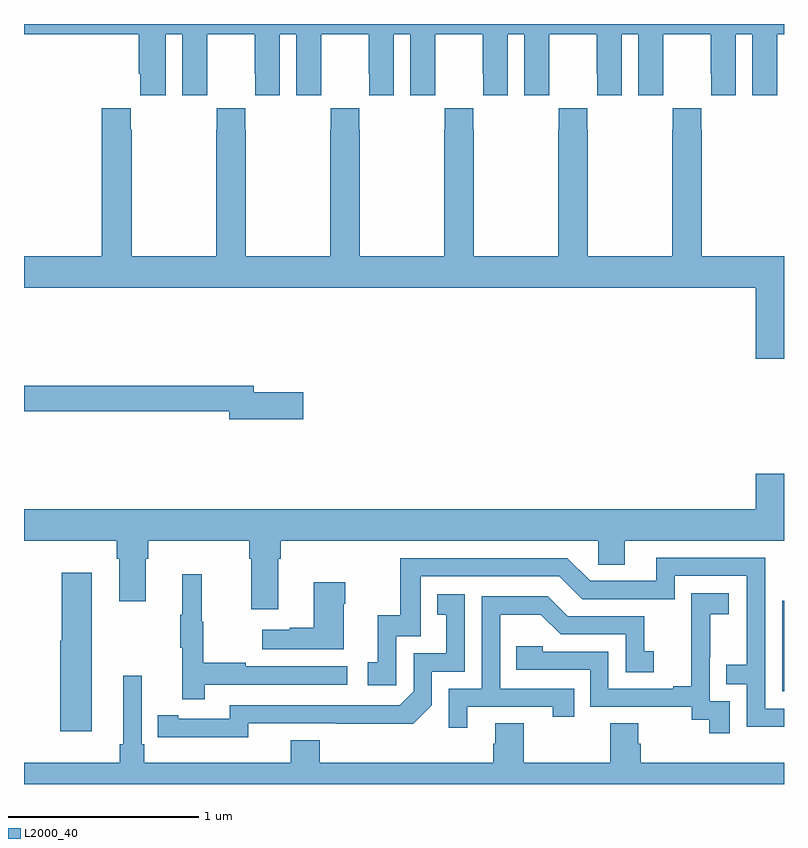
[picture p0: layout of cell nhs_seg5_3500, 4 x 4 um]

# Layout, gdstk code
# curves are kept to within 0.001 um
import gdstk
lib = gdstk.Library(unit=1e-6, precision=1e-09)
def R(c, l, rs):  # rectangles x0, y0, x1, y1
    for r in rs: c.add(gdstk.rectangle(r[:2], r[2:], *l))
def P(c, l, *ps):  # polygons
    for p in ps: c.add(gdstk.Polygon(p, *l))
L2000_40 = (2000, 40)

nhs_seg5_3500 = lib.new_cell('nhs_seg5_3500')
R(nhs_seg5_3500, L2000_40, [(320.991,869.286,321,869.763)])
P(nhs_seg5_3500, L2000_40, [(317.746,872.744),(317.834,872.744),(317.834,872.424),(317.964,872.424),(317.964,872.536),(317.965,872.536),(317.965,872.744),(318.215,872.744),(318.215,872.536),(318.216,872.536),(318.216,872.424),(318.346,872.424),(318.346,872.744),(318.434,872.744),(318.434,872.424),(318.564,872.424),(318.564,872.536),(318.565,872.536),(318.565,872.744),(318.815,872.744),(318.815,872.536),(318.816,872.536),(318.816,872.424),(318.946,872.424),(318.946,872.744),(319.034,872.744),(319.034,872.424),(319.164,872.424),(319.164,872.536),(319.165,872.536),(319.165,872.744),(319.415,872.744),(319.415,872.536),(319.416,872.536),(319.416,872.424),(319.546,872.424),(319.546,872.744),(319.634,872.744),(319.634,872.424),(319.764,872.424),(319.764,872.536),(319.765,872.536),(319.765,872.744),(320.015,872.744),(320.015,872.536),(320.016,872.536),(320.016,872.424),(320.146,872.424),(320.146,872.744),(320.234,872.744),(320.234,872.424),(320.364,872.424),(320.364,872.536),(320.365,872.536),(320.365,872.744),(320.615,872.744),(320.615,872.536),(320.616,872.536),(320.616,872.424),(320.746,872.424),(320.746,872.744),(320.834,872.744),(320.834,872.424),(320.964,872.424),(320.964,872.536),(320.965,872.536),(320.965,872.744),(321,872.744),(321,872.799),(317,872.799),(317,872.744),(317.603,872.744),(317.603,872.536),(317.612,872.536),(317.612,872.424),(317.746,872.424)],
  [(321,871.576),(320.568,871.576),(320.568,872.243),(320.565,872.243),(320.565,872.356),(320.415,872.356),(320.415,872.243),(320.413,872.243),(320.413,871.576),(319.968,871.576),(319.968,872.243),(319.965,872.243),(319.965,872.356),(319.815,872.356),(319.815,872.243),(319.813,872.243),(319.813,871.576),(319.368,871.576),(319.368,872.243),(319.365,872.243),(319.365,872.356),(319.215,872.356),(319.215,872.243),(319.213,872.243),(319.213,871.576),(318.768,871.576),(318.768,872.243),(318.765,872.243),(318.765,872.356),(318.615,872.356),(318.615,872.243),(318.613,872.243),(318.613,871.576),(318.168,871.576),(318.168,872.243),(318.165,872.243),(318.165,872.356),(318.015,872.356),(318.015,872.243),(318.013,872.243),(318.013,871.576),(317.568,871.576),(317.568,872.243),(317.561,872.243),(317.561,872.356),(317.408,872.356),(317.408,871.576),(317,871.576),(317,871.412),(320.852,871.412),(320.852,871.038),(321,871.038)],
  [(318.469,870.86),(318.208,870.86),(318.208,870.896),(317,870.896),(317,870.76),(318.08,870.76),(318.08,870.718),(318.469,870.718)],
  [(318.337,869.984),(318.35,869.984),(318.35,870.08),(320.022,870.08),(320.022,869.953),(320.161,869.953),(320.161,870.08),(321,870.08),(321,870.433),(320.852,870.433),(320.852,870.244),(317,870.244),(317,870.08),(317.489,870.08),(317.489,869.984),(317.501,869.984),(317.501,869.76),(317.641,869.76),(317.641,869.984),(317.654,869.984),(317.654,870.08),(318.185,870.08),(318.185,869.984),(318.197,869.984),(318.197,869.718),(318.337,869.718)],
  [(321,869.196),(320.901,869.196),(320.901,869.991),(320.327,869.991),(320.327,869.868),(319.98,869.868),(319.86,869.988),(318.981,869.988),(318.981,869.686),(318.863,869.686),(318.863,869.439),(318.81,869.439),(318.81,869.319),(318.96,869.319),(318.96,869.577),(319.089,869.577),(319.089,869.892),(319.818,869.892),(319.938,869.772),(320.424,869.772),(320.424,869.895),(320.805,869.895),(320.805,869.426),(320.695,869.426),(320.695,869.325),(320.805,869.325),(320.805,869.1),(321,869.1)],
  [(317.356,869.911),(317.198,869.911),(317.198,869.553),(317.192,869.553),(317.192,869.076),(317.356,869.076)],
  [(317.951,869.322),(318.7,869.322),(318.7,869.418),(318.167,869.418),(318.167,869.438),(317.944,869.438),(317.944,869.652),(317.936,869.652),(317.936,869.902),(317.834,869.902),(317.834,869.689),(317.823,869.689),(317.823,869.515),(317.834,869.515),(317.834,869.244),(317.951,869.244)],
  [(318.682,869.747),(318.69,869.747),(318.69,869.86),(318.524,869.86),(318.524,869.621),(318.398,869.621),(318.398,869.611),(318.255,869.611),(318.255,869.507),(318.682,869.507)],
  [(320.715,869.235),(320.61,869.235),(320.61,869.465),(320.612,869.465),(320.612,869.693),(320.71,869.693),(320.71,869.803),(320.512,869.803),(320.512,869.597),(320.513,869.597),(320.513,869.314),(320.417,869.314),(320.417,869.301),(320.076,869.301),(320.076,869.496),(319.731,869.496),(319.731,869.523),(319.591,869.523),(319.591,869.4),(319.98,869.4),(319.98,869.205),(320.514,869.205),(320.514,869.137),(320.607,869.137),(320.607,869.067),(320.715,869.067)],
  [(318.18,869.118),(319.048,869.117),(319.146,869.214),(319.146,869.391),(319.32,869.391),(319.32,869.797),(319.174,869.797),(319.174,869.691),(319.223,869.691),(319.223,869.487),(319.05,869.487),(319.05,869.286),(318.978,869.214),(318.084,869.214),(318.084,869.142),(317.812,869.142),(317.812,869.162),(317.704,869.162),(317.704,869.046),(318.18,869.045)],
  [(319.333,869.205),(319.784,869.205),(319.784,869.154),(319.895,869.154),(319.895,869.301),(319.506,869.301),(319.506,869.69),(319.72,869.69),(319.824,869.586),(320.166,869.586),(320.166,869.388),(320.314,869.388),(320.314,869.497),(320.265,869.497),(320.265,869.682),(319.861,869.682),(319.756,869.787),(319.41,869.787),(319.41,869.301),(319.236,869.301),(319.236,869.094),(319.333,869.094)],
  [(321,868.912),(320.246,868.912),(320.246,869.01),(320.233,869.01),(320.233,869.12),(320.086,869.12),(320.086,868.912),(319.629,868.912),(319.629,869.12),(319.481,869.12),(319.481,869.01),(319.469,869.01),(319.469,868.912),(318.557,868.912),(318.557,869.029),(318.404,869.029),(318.404,868.912),(317.633,868.912),(317.633,869.008),(317.619,869.008),(317.619,869.368),(317.522,869.368),(317.522,869.008),(317.503,869.008),(317.503,868.912),(317,868.912),(317,868.799),(321,868.799)])

lib.write_gds('nhs_seg5_3500.gds')
